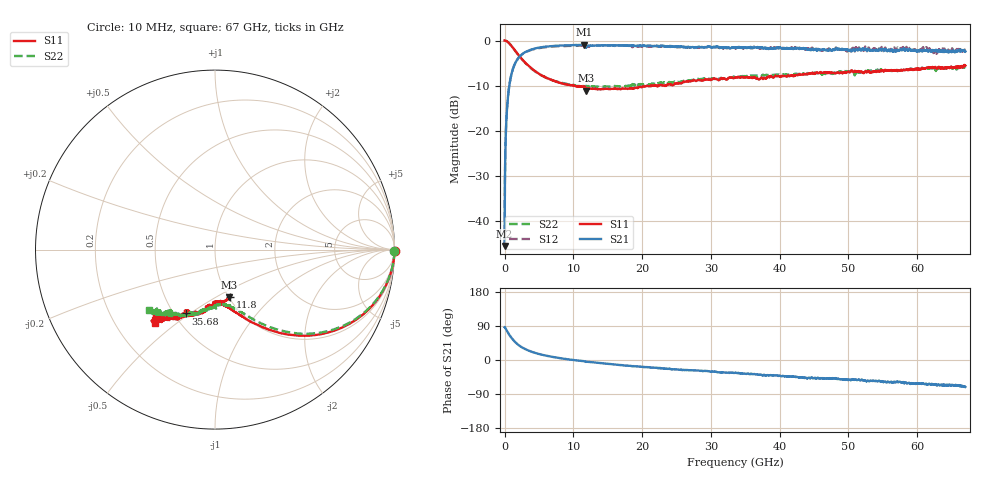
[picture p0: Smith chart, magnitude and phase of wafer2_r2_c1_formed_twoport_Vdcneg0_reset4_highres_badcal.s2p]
!Keysight Technologies,N5227A,US51270248,A.10.65.08
!Date: Tuesday, June 11, 2024 08:36:28
!Correction: S11(Full 2 Port(1,4))
!S41(Full 2 Port(1,4))
!S14(Full 2 Port(1,4))
!S44(Full 2 Port(1,4))
!S2P File: Measurements: S11, S41, S14, S44:
# Hz S  dB  R 50
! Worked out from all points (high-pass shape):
!   3201 points, 10 MHz to 67 GHz, reference 50 ohm
!   highest |S21| = -0.93 dB at 11.57 GHz (marker M1); lowest = -45.6 dB at 10 MHz (marker M2)
!   |S21| within 3 dB of the highest: 1.986 GHz to end of sweep
!   lowest |S11| = -11.1 dB at 11.82 GHz (marker M3), VSWR 1.77, Z = 50.3 - j28.9 ohm
!   |S11| at or under -10 dB: 10.01 GHz to 21.38 GHz (11.36 GHz wide, 72.4 % of centre); 21.51 GHz to 21.66 GHz (141.8 MHz wide, 0.657 % of centre); 22.1 GHz to 22.3 GHz (205.4 MHz wide, 0.925 % of centre)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
!   |S22| runs from -10.3 to 0.0 dB; largest |S21 - S12| = 0.094
!   S11 on the Smith chart (normalised r, x): 10 MHz: open; 11.8 GHz: 1.02, -0.58; 35.68 GHz: 0.57, -0.48; 67 GHz: 0.37, -0.42
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1e7  0.00 -0.3  -45.57 86.6  -45.59 88.0  -0.00 -0.3
3.658844e8  -0.21 -11.0  -14.99 76.2  -14.97 76.0  -0.22 -10.9
5.12425e8  -0.38 -15.1  -12.31 71.7  -12.29 71.5  -0.39 -14.9
9.520469e8  -1.09 -25.9  -7.83 59.8  -7.81 59.4  -1.11 -25.6
1.621947e9  -2.40 -38.3  -4.81 45.9  -4.82 45.3  -2.45 -37.7
2.940812e9  -4.80 -53.1  -2.64 29.4  -2.69 28.8  -4.87 -51.5
4.720234e9  -7.08 -64.2  -1.66 17.4  -1.78 16.8  -7.15 -61.4
7.441703e9  -9.10 -74.0  -1.17 6.7  -1.30 6.5  -9.04 -70.6
1.118896e10  -10.21 -82.6  -0.97 -2.3  -1.14 -2.6  -10.04 -78.9
1.156578e10  -10.31 -83.6  -0.93 -3.3  -1.12 -3.4  -10.15 -79.6
1.179605e10  -11.10 -72.3  -1.55 -4.9  -1.14 -3.5  -10.02 -80.1
1.181699e10  -11.15 -73.3  -1.52 -5.0  -1.12 -3.8  -10.10 -80.2
2.234698e10  -9.98 -96.1  -1.24 -21.0  -1.26 -20.5  -9.49 -97.1
3.3505e10  -8.24 -109.6  -1.62 -33.8  -1.71 -33.6  -8.16 -113.3
3.568218e10  -8.16 -114.6  -1.66 -36.9  -1.45 -34.9  -7.81 -115.5
4.468396e10  -7.19 -118.3  -1.93 -47.2  -1.66 -45.6  -7.14 -124.5
5.584198e10  -6.62 -125.1  -2.11 -57.5  -2.06 -57.3  -6.72 -132.4
6.094997e10  -6.15 -126.6  -2.08 -62.7  -1.79 -63.1  -6.21 -133.9
6.210136e10  -5.98 -127.7  -2.42 -62.9  -2.02 -65.6  -6.10 -134.4
6.268752e10  -6.07 -127.8  -2.08 -65.3  -2.34 -63.7  -6.04 -135.7
6.327368e10  -5.97 -128.3  -2.44 -66.4  -2.09 -63.2  -6.07 -135.4
6.7e10  -5.56 -129.5  -2.44 -70.9  -2.50 -71.6  -6.05 -137.4
